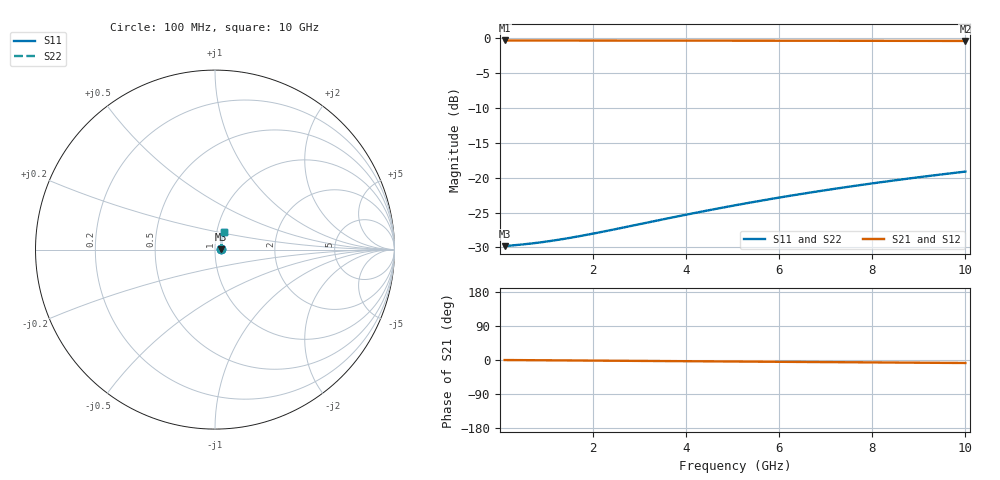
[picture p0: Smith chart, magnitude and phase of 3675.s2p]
# Hz S RI R 50.00
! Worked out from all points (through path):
!   100 points, 100 MHz to 10 GHz, reference 50 ohm
!   highest |S21| = -0.28 dB at 100 MHz (marker M1); lowest = -0.4 dB at 10 GHz (marker M2)
!   group delay of S21, straight-line fit = 2.2 ps
!   lowest |S11| = -29.8 dB at 100 MHz (marker M3), VSWR 1.07, Z = 53.3 + j0.108 ohm
!   |S11| at or under -10 dB: start of sweep to end of sweep
!   |S22| runs from -29.8 to -19.1 dB; largest |S21 - S12| = 0
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1e8  0.0322 0.00102  0.9678 -0.00134  0.9678 -0.00134  0.0322 0.00102
6e8  0.0329 0.00608  0.9671 -0.00804  0.9671 -0.00804  0.0329 0.00608
9e8  0.0332 0.00912  0.9668 -0.0121  0.9668 -0.0121  0.0332 0.00912
1.1e9  0.0334 0.0111  0.9666 -0.0147  0.9666 -0.0147  0.0334 0.0111
1.3e9  0.0336 0.0132  0.9664 -0.0174  0.9664 -0.0174  0.0336 0.0132
1.5e9  0.0337 0.0152  0.9663 -0.0201  0.9663 -0.0201  0.0337 0.0152
1.8e9  0.034 0.0182  0.966 -0.0241  0.966 -0.0241  0.034 0.0182
2.1e9  0.0342 0.0212  0.9657 -0.0281  0.9657 -0.0281  0.0342 0.0212
2.4e9  0.0345 0.0243  0.9654 -0.0321  0.9654 -0.0321  0.0345 0.0243
3.4e9  0.0356 0.0343  0.9644 -0.0454  0.9644 -0.0454  0.0356 0.0343
4.3e9  0.0367 0.0433  0.9632 -0.0574  0.9632 -0.0574  0.0367 0.0433
4.7e9  0.0373 0.0473  0.9626 -0.0627  0.9626 -0.0627  0.0373 0.0473
5.1e9  0.0379 0.0513  0.962 -0.068  0.962 -0.068  0.0379 0.0513
5.5e9  0.0385 0.0553  0.9613 -0.0733  0.9613 -0.0733  0.0385 0.0553
5.9e9  0.0392 0.0593  0.9606 -0.0786  0.9606 -0.0786  0.0392 0.0593
6.3e9  0.0399 0.0633  0.9598 -0.0839  0.9598 -0.0839  0.0399 0.0633
6.7e9  0.0407 0.0672  0.959 -0.0892  0.959 -0.0892  0.0407 0.0672
7.5e9  0.0424 0.0751  0.9573 -0.0997  0.9573 -0.0997  0.0424 0.0751
7.9e9  0.0433 0.079  0.9564 -0.1049  0.9564 -0.1049  0.0433 0.079
8.4e9  0.0444 0.0839  0.9552 -0.1114  0.9552 -0.1114  0.0444 0.0839
9.2e9  0.0465 0.0917  0.9531 -0.1218  0.9531 -0.1218  0.0465 0.0917
1e10  0.0486 0.0994  0.9508 -0.1322  0.9508 -0.1322  0.0486 0.0994
